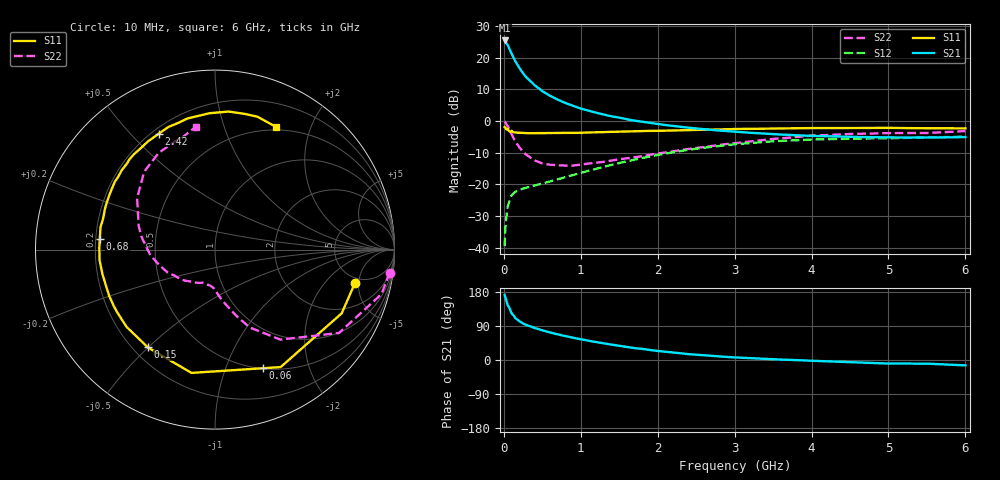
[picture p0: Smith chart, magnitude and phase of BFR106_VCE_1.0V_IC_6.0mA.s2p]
! Infineon Technologies  Discrete & RF Semiconductors
! BFR106
! VCE =  1.0 V,  IC =  6.0 mA
! Common Emitter S-Parameters:  Nov 2015
# GHz  S  MA  R  50
!  f  S11  S21  S12  S22
! GHz  MAG  ANG  MAG  ANG  MAG  ANG  MAG  ANG
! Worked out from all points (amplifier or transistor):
!   210 points, 10 MHz to 6 GHz, reference 50 ohm
!   highest |S21| = 25.4 dB at 10 MHz (marker M1)
!   |S21| within 3 dB of that: start of sweep to 77.76 MHz
!   unconditionally stable (mu >= 1): 560.4 MHz to 2.912 GHz; 3.12 GHz to end of sweep
!   at 185 MHz: K = 0.44, MSG = 19.7 dB, |S12| = -22.0 dB
!   at 1.52 GHz: K = 1.15, MAG = 4.8 dB, |S12| = -13.2 dB
!   at 6 GHz: K = 1.03, MAG = -1.1 dB, |S12| = -5.0 dB
!   S11 on the Smith chart (normalised r, x): 10 MHz: 4.27, -4.47; 60 MHz: 0.51, -1.36; 150 MHz: 0.26, -0.50; 680 MHz: 0.22, +0.05; 2.42 GHz: 0.23, +0.60; 6 GHz: 0.46, +1.52
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0.01  0.8016 -13.5  18.73 171.5  0.0105 84.1  0.9817 -7.5
0.02  0.7901 -26.7  18.33 164.5  0.0204 76.3  0.9599 -15.0
0.05  0.7498 -60.8  15.8 144.5  0.0446 60.6  0.8327 -33.9
0.06  0.7127 -68.0  14.83 141.3  0.0487 56.4  0.7835 -37.0
0.1  0.6994 -100.8  11.62 123.6  0.0669 45.3  0.6191 -54.1
0.15  0.6609 -124.5  8.709 110.4  0.0762 37.6  0.474 -66.1
0.2  0.6543 -138.9  6.907 102.4  0.0813 35.1  0.3847 -72.4
0.26  0.646 -150.6  5.457 95.3  0.0861 34.5  0.3159 -78.5
0.3  0.6434 -156.6  4.778 91.6  0.0886 35.1  0.288 -81.7
0.4  0.642 -167.7  3.668 84.3  0.0952 37.0  0.238 -88.0
0.5  0.6459 -174.8  2.961 78.2  0.1024 39.4  0.2132 -92.5
0.6  0.6447 179.1  2.502 72.5  0.1108 42.0  0.2034 -96.9
0.68  0.6449 174.5  2.241 68.6  0.1177 44.1  0.2005 -100.9
0.8  0.6501 168.9  1.92 63.1  0.1297 46.5  0.1969 -107.0
1.02  0.654 159.4  1.546 53.9  0.1535 49.8  0.2066 -116.0
1.4  0.6741 146.0  1.183 40.6  0.2021 51.7  0.2378 -132.7
2.02  0.6992 126.9  0.887 23.5  0.2931 47.7  0.3075 -159.8
2.42  0.7181 115.8  0.78 15.1  0.3532 42.3  0.3643 -176.3
3.1  0.7476 100.0  0.663 5.9  0.4374 30.6  0.4585 158.8
4.1  0.7723 83.1  0.577 -2.7  0.5112 13.6  0.5921 129.7
5.1  0.7747 71.3  0.548 -9.4  0.5358 0.5  0.6444 109.4
6  0.7644 63.5  0.556 -14.2  0.5652 -8.7  0.6933 98.8
